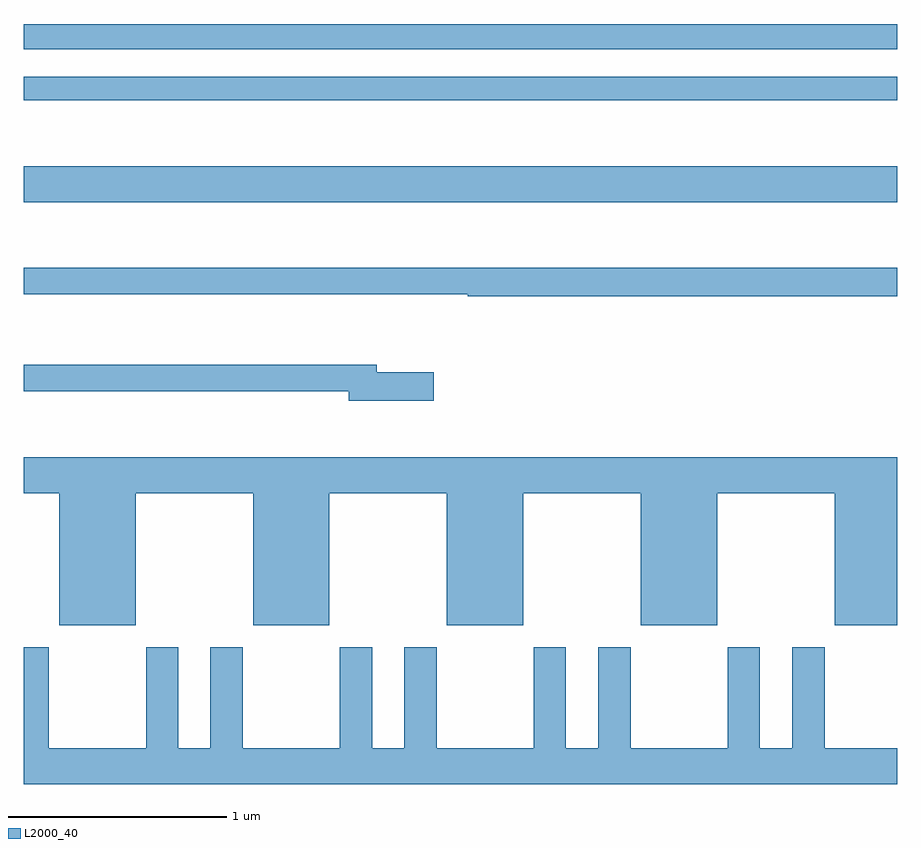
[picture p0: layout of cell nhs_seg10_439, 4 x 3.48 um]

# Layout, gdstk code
import gdstk
lib = gdstk.Library(unit=1e-6, precision=1e-09)
def R(c, l, rs):  # rectangles x0, y0, x1, y1
    for r in rs: c.add(gdstk.rectangle(r[:2], r[2:], *l))
def P(c, l, *ps):  # polygons
    for p in ps: c.add(gdstk.Polygon(p, *l))
L2000_40 = (2000, 40)

nhs_seg10_439 = lib.new_cell('nhs_seg10_439')
R(nhs_seg10_439, L2000_40, [(131,1329.62,135,1329.784), (131,1330.086,135,1330.194), (131,1330.32,135,1330.436)])
P(nhs_seg10_439, L2000_40, [(135,1329.319),(131,1329.319),(131,1329.198),(133.034,1329.198),(133.034,1329.19),(135,1329.19)],
  [(132.877,1328.841),(132.616,1328.841),(132.616,1328.875),(131,1328.875),(131,1328.754),(132.488,1328.754),(132.488,1328.711),(132.877,1328.711)],
  [(131.512,1328.288),(132.05,1328.288),(132.05,1327.682),(132.4,1327.682),(132.4,1328.288),(132.938,1328.288),(132.938,1327.682),(133.288,1327.682),(133.288,1328.288),(133.826,1328.288),(133.826,1327.682),(134.176,1327.682),(134.176,1328.288),(134.714,1328.288),(134.714,1327.682),(135,1327.682),(135,1328.452),(131,1328.452),(131,1328.288),(131.162,1328.288),(131.162,1327.682),(131.512,1327.682)],
  [(135,1327.12),(134.667,1327.12),(134.667,1327.582),(134.519,1327.582),(134.519,1327.12),(134.371,1327.12),(134.371,1327.582),(134.224,1327.582),(134.224,1327.12),(133.779,1327.12),(133.779,1327.582),(133.631,1327.582),(133.631,1327.12),(133.483,1327.12),(133.483,1327.582),(133.336,1327.582),(133.336,1327.12),(132.891,1327.12),(132.891,1327.582),(132.743,1327.582),(132.743,1327.12),(132.595,1327.12),(132.595,1327.582),(132.448,1327.582),(132.448,1327.12),(132.003,1327.12),(132.003,1327.582),(131.855,1327.582),(131.855,1327.12),(131.707,1327.12),(131.707,1327.582),(131.56,1327.582),(131.56,1327.12),(131.115,1327.12),(131.115,1327.582),(131,1327.582),(131,1326.956),(135,1326.956)])

lib.write_gds('nhs_seg10_439.gds')
